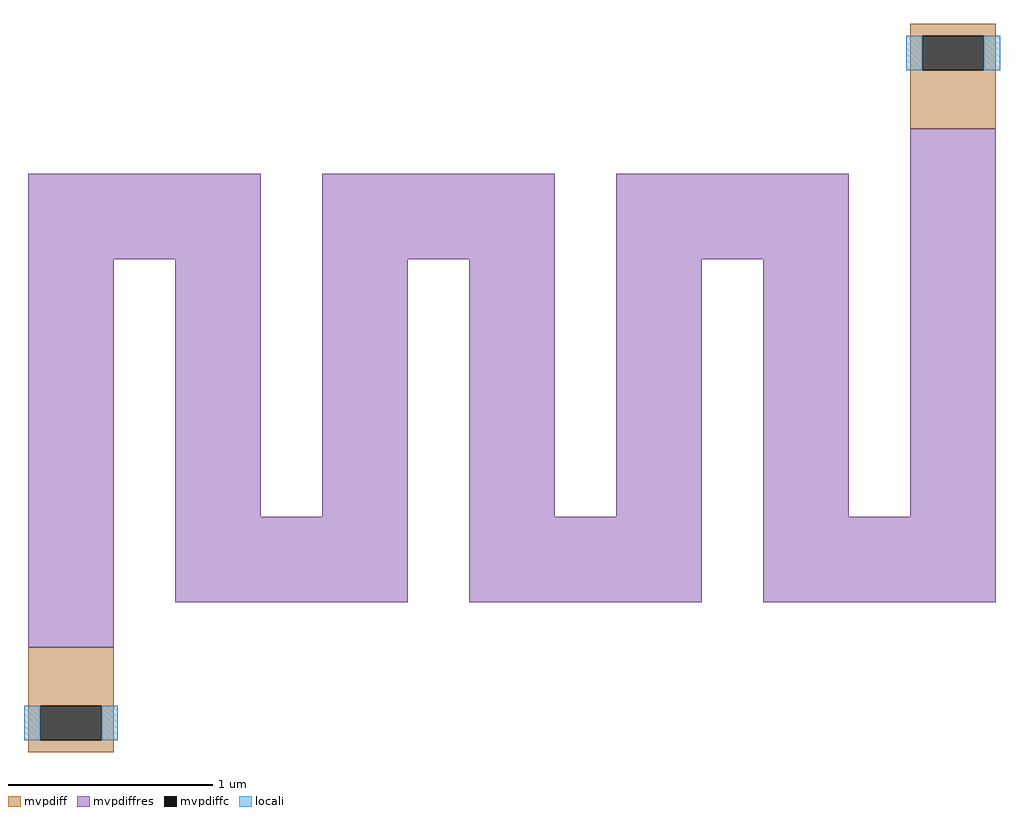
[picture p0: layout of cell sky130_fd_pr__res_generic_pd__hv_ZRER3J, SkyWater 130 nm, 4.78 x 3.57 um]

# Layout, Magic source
magic
tech sky130A
magscale 1 2
<< mvpdiff >>
rect 390 345 474 357
rect 390 311 402 345
rect 462 311 474 345
rect 390 254 474 311
rect -474 -311 -390 -254
rect -474 -345 -462 -311
rect -402 -345 -390 -311
rect -474 -357 -390 -345
<< mvpdiffc >>
rect 402 311 462 345
rect -462 -345 -402 -311
<< mvpdiffres >>
rect -474 126 -246 210
rect -474 -254 -390 126
rect -330 -126 -246 126
rect -186 126 42 210
rect -186 -126 -102 126
rect -330 -210 -102 -126
rect -42 -126 42 126
rect 102 126 330 210
rect 102 -126 186 126
rect -42 -210 186 -126
rect 246 -126 330 126
rect 390 -126 474 254
rect 246 -210 474 -126
<< locali >>
rect 386 311 402 345
rect 462 311 478 345
rect -478 -345 -462 -311
rect -402 -345 -386 -311
<< properties >>
string gencell sky130_fd_pr__res_generic_pd__hv
string library sky130
string parameters w 0.42 l 2.1 m 1 nx 7 wmin 0.42 lmin 2.10 rho 197 val 10.194k dummy 0 dw 0.02 term 0.0 sterm 0.0 caplen 0.60 snake 1 guard 0 glc 1 grc 1 gtc 1 gbc 1 roverlap 0 endcov 100 full_metal 1 vias 1 viagb 0 viagt 0 viagl 0 viagr 0
<< end >>
